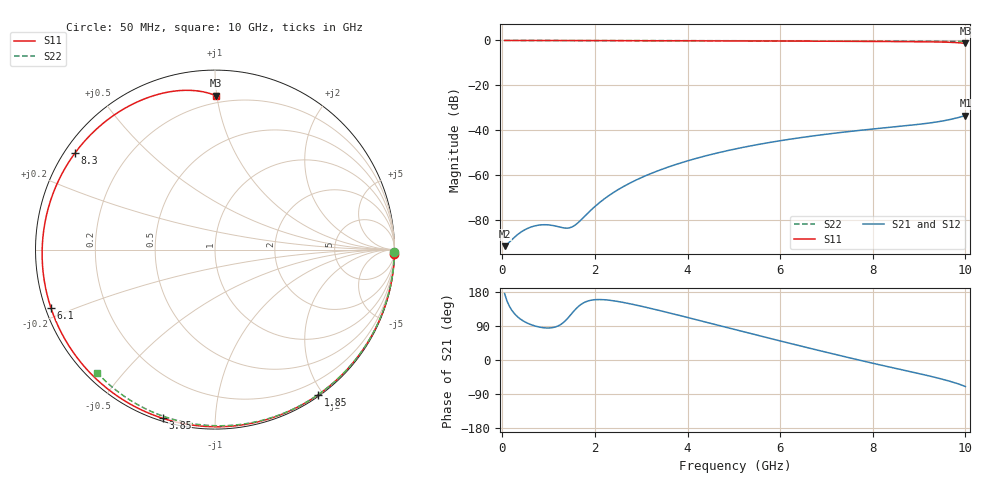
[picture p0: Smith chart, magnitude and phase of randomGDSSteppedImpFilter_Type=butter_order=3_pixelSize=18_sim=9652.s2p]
! freq	dB(S11)	phase(S11)	dB(S12)	phase(S12)
!  dB(S21)	phase(S21)	dB(S22)	phase(S22)
!S-par simulation data
#  GHz  S  DB  R 50
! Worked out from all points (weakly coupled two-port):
!   200 points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, 50 MHz to 10 GHz, reference 50 ohm
!   highest |S21| = -33.40 dB at 10 GHz (marker M1); lowest = -91.5 dB at 50 MHz (marker M2)
!   lowest |S11| = -1.3 dB at 10 GHz (marker M3), VSWR 13.10, Z = 7.64 + j49.7 ohm
!   |S11| at or under -10 dB: nowhere
!   |S22| runs from -0.5 to 0.0 dB; largest |S21 - S12| = 0
!   S11 on the Smith chart (normalised r, x): 50 MHz: 0, -75; 1.85 GHz: 0.02, -1.94; 3.85 GHz: 0.01, -0.74; 6.1 GHz: 0.02, -0.17; 8.3 GHz: 0.03, +0.31; 10 GHz: 0.15, +0.99
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0.05  -0.00 -1.5  -91.48 175.3  -91.48 175.3  -0.00 -0.8
0.45  -0.01 -13.6  -84.61 103.3  -84.61 103.3  -0.01 -6.9
0.85  -0.03 -25.6  -81.99 85.7  -81.99 85.7  -0.02 -13.0
1.65  -0.06 -48.8  -80.79 142.0  -80.79 142.0  -0.03 -25.0
1.75  -0.06 -51.7  -78.79 150.5  -78.79 150.5  -0.03 -26.5
1.85  -0.07 -54.5  -76.73 155.7  -76.73 155.7  -0.04 -28.0
2.15  -0.08 -62.9  -71.28 159.4  -71.28 159.4  -0.04 -32.5
2.5  -0.09 -72.4  -66.35 154.4  -66.35 154.4  -0.05 -37.6
2.9  -0.10 -83.1  -61.97 144.7  -61.97 144.7  -0.06 -43.4
3.4  -0.12 -96.0  -57.65 130.4  -57.65 130.4  -0.07 -50.5
3.85  -0.14 -107.2  -54.49 116.8  -54.49 116.8  -0.08 -56.8
4.45  -0.17 -121.8  -51.01 98.3  -51.01 98.3  -0.09 -65.1
5.05  -0.20 -136.1  -48.17 79.6  -48.17 79.6  -0.11 -73.1
6.1  -0.26 -160.6  -44.26 47.3  -44.26 47.3  -0.15 -86.7
6.7  -0.31 -174.7  -42.48 29.2  -42.48 29.2  -0.18 -94.3
7.5  -0.38 166.0  -40.47 5.7  -40.47 5.7  -0.23 -104.1
8.3  -0.47 145.4  -38.75 -16.9  -38.75 -16.9  -0.29 -113.7
8.35  -0.47 144.1  -38.65 -18.3  -38.65 -18.3  -0.29 -114.3
8.9  -0.55 128.7  -37.50 -33.2  -37.50 -33.2  -0.34 -120.8
9.4  -0.68 113.3  -36.18 -47.5  -36.18 -47.5  -0.39 -126.7
9.75  -0.89 100.6  -34.78 -59.3  -34.78 -59.3  -0.42 -130.8
10  -1.33 89.7  -33.40 -70.0  -33.40 -70.0  -0.45 -133.8
